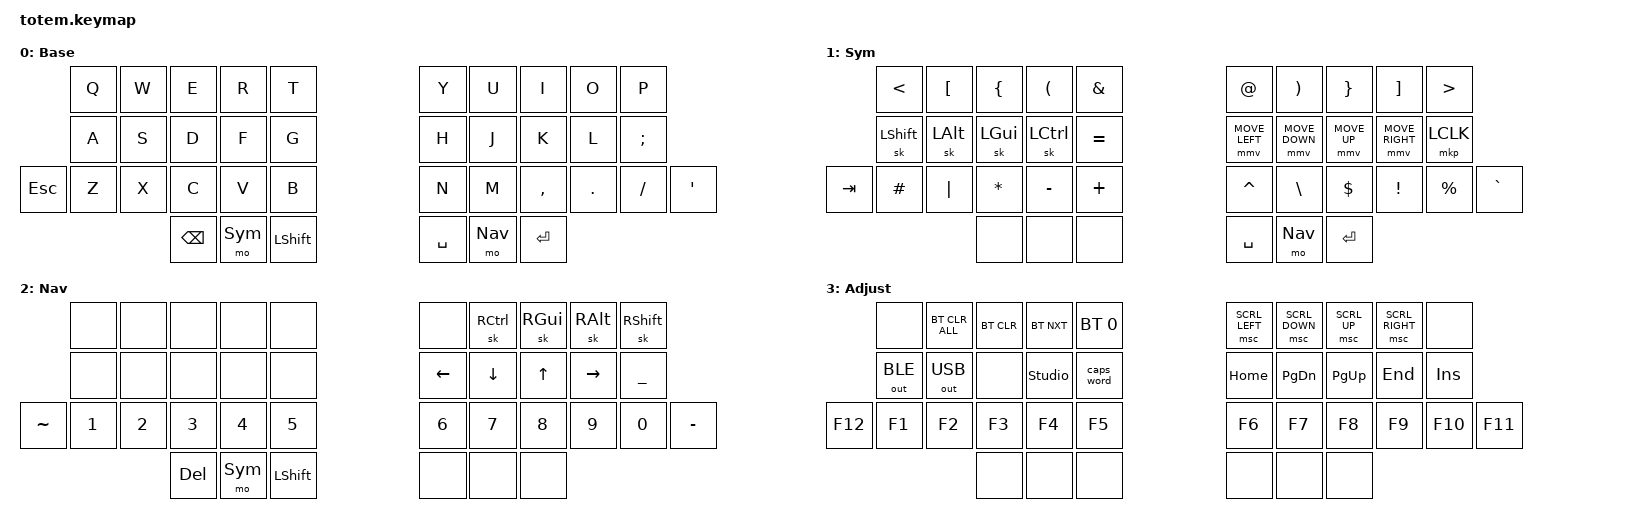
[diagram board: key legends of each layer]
//
//                                                        ▀▀▀▀▀     ▀▀▀▀▀          ▀▀█▀▀
//                                                        ▄▀▀▀▄  ▄  ▄▀▀▀▄  ▄  ▄▀▀▀▄  █  ▄▀▀▀▄
//                                                        █   █  █  █   █  █  █   █  █  █   █
//                                                         ▀▀▀   █   ▀▀▀   █   ▀▀▀   ▀   ▀▀▀
//                                                               █      ▄▄▄█▄▄▄    █   █  
//                                                               ▀      █  █  █     █▄█
//                                                             ▀▀▀▀▀    █  █  █      ▀
//                                                                      ▀  ▀  ▀
//
// ▄▄▄▄▄▄▄▄▄▄▄▄▄▄▄▄▄▄▄▄▄▄▄▄▄▄▄▄▄▄▄▄▄▄▄▄▄▄▄▄▄▄▄▄▄▄▄▄▄▄▄▄▄▄▄▄▄▄▄▄▄▄▄▄▄▄▄▄▄▄▄▄▄▄▄▄▄▄▄▄▄▄▄▄▄▄▄▄▄▄▄▄▄▄▄▄▄▄▄▄▄▄▄▄▄▄▄▄▄▄▄▄▄▄▄▄▄▄▄▄▄▄▄▄▄▄▄▄▄▄▄▄▄▄▄▄▄▄▄▄▄▄▄▄▄▄▄▄▄

#include <behaviors.dtsi>
#include <dt-bindings/zmk/keys.h>
#include <dt-bindings/zmk/bt.h>
#include <dt-bindings/zmk/outputs.h>
#include <dt-bindings/zmk/ext_power.h>

#define Base            0
#define Sym             1
#define Nav             2
#define Adjust          3

&sk {
    release-after-ms = <1000>;
    quick-release;
};

&caps_word {
    continue-list = <UNDERSCORE MINUS>;
};

/ {
    conditional_layers {
        compatible = "zmk,conditional-layers";
        tri_layer {
            if-layers = <1 2>;
            then-layer = <3>;
        };
    };

    //               0   1   2   3   4                   5   6   7   8   9
    //               10  11  12  13  14                  15  16  17  18  19
    //           20  21  22  23  24  25                  26  27  28  29  30  31
    //                       32  33  34                  35  36  37

    keymap {
        compatible = "zmk,keymap";

        Base {
            label = "Base";
            bindings = <
                     &kp Q  &kp W  &kp E     &kp R    &kp T                      &kp Y      &kp U    &kp I      &kp O    &kp P
                     &kp A  &kp S  &kp D     &kp F    &kp G                      &kp H      &kp J    &kp K      &kp L    &kp SEMI
            &kp ESC  &kp Z  &kp X  &kp C     &kp V    &kp B                      &kp N      &kp M    &kp COMMA  &kp DOT  &kp SLASH  &kp SQT
                                   &kp BSPC  &mo Sym  &kp LSHFT                  &kp SPACE  &mo Nav  &kp RET
            >;
        };

        Sym {
            label = "Sym";
            bindings = <
                      &kp LT     &kp LBKT  &kp LBRC  &kp LPAR   &kp AMPS         &kp AT         &kp RPAR       &kp RBRC     &kp RBKT        &kp GT
                      &sk LSHFT  &sk LALT  &sk LGUI  &sk LCTRL  &kp EQUAL        &mmv MOVE_LEFT &mmv MOVE_DOWN &mmv MOVE_UP &mmv MOVE_RIGHT &mkp LCLK
            &kp TAB   &kp HASH   &kp PIPE  &kp STAR  &kp MINUS  &kp PLUS         &kp CARET      &kp BSLH       &kp DLLR     &kp EXCL        &kp PRCNT  &kp GRAVE
                                           &none     &none      &none            &kp SPACE      &mo Nav        &kp RET
            >;
        };

        Nav {
            label = "Nav";
            bindings = <
                       &none   &none   &none    &none    &none                   &none     &sk RCTRL  &sk RGUI  &sk RALT   &sk RSHFT
                       &none   &none   &none    &none    &none                   &kp LEFT  &kp DOWN   &kp UP    &kp RIGHT  &kp UNDER
            &kp TILDE  &kp N1  &kp N2  &kp N3   &kp N4   &kp N5                  &kp N6    &kp N7     &kp N8    &kp N9     &kp N0     &kp MINUS
                                       &kp DEL  &mo Sym  &kp LSHFT               &none       &none      &none
            >;
        };

        Adjust {
            label = "Adjust";
            bindings = <
                      &none         &bt BT_CLR_ALL  &bt BT_CLR  &bt BT_NXT      &bt BT_SEL 0             &msc SCRL_LEFT  &msc SCRL_DOWN  &msc SCRL_UP &msc SCRL_RIGHT &none
                      &out OUT_BLE  &out OUT_USB    &none       &studio_unlock  &caps_word               &kp HOME        &kp PG_DN       &kp PG_UP    &kp END         &kp INS
            &kp F12   &kp F1        &kp F2          &kp F3      &kp F4          &kp F5                   &kp F6          &kp F7          &kp F8       &kp F9          &kp F10     &kp F11
                                                    &none       &none           &none                    &none           &none           &none
            >;
        };
    };
};
